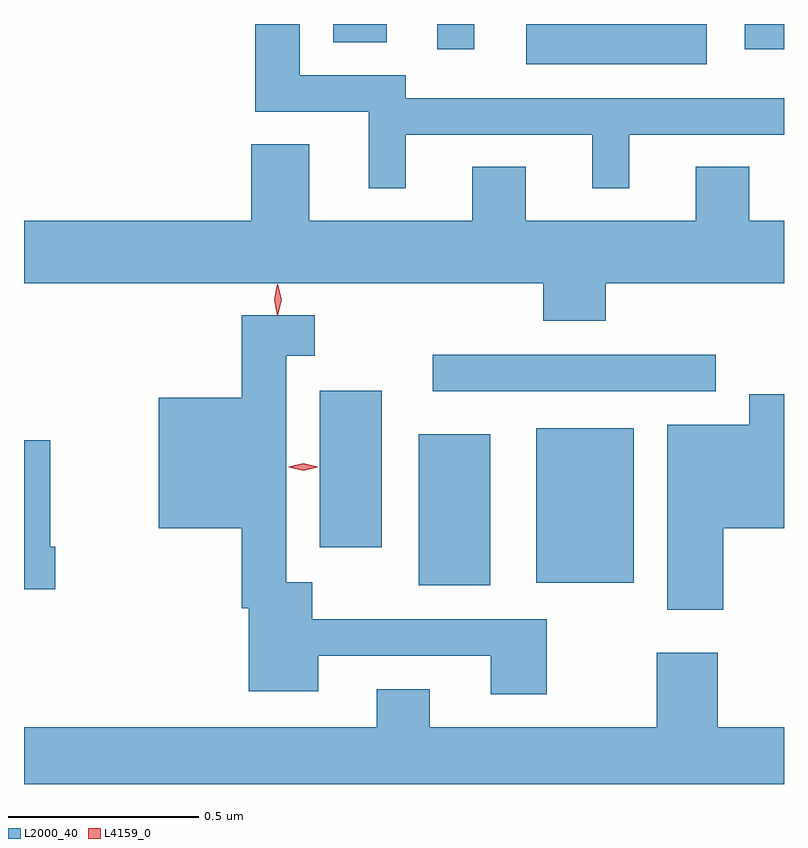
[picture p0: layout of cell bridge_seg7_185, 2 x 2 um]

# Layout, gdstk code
import gdstk
lib = gdstk.Library(unit=1e-6, precision=1e-09)
def R(c, l, rs):  # rectangles x0, y0, x1, y1
    for r in rs: c.add(gdstk.rectangle(r[:2], r[2:], *l))
def P(c, l, *ps):  # polygons
    for p in ps: c.add(gdstk.Polygon(p, *l))
L2000_40 = (2000, 40)
L4159_0 = (4159, 0)

bridge_seg7_185 = lib.new_cell('bridge_seg7_185')
R(bridge_seg7_185, L2000_40, [(450.188,1029.125,450.376,1029.523), (450.497,1029.131,450.754,1029.538), (449.927,1029.225,450.091,1029.637), (450.225,1029.636,450.97,1029.732), (450.471,1030.496,450.946,1030.602), (450.236,1030.536,450.334,1030.602), (451.046,1030.536,451.149,1030.602), (449.963,1030.554,450.103,1030.602)])
P(bridge_seg7_185, L2000_40, [(450.154,1030.311),(450.644,1030.311),(450.644,1030.17),(450.742,1030.17),(450.742,1030.311),(451.149,1030.311),(451.149,1030.407),(450.153,1030.407),(450.153,1030.467),(449.874,1030.467),(449.874,1030.602),(449.758,1030.602),(449.758,1030.371),(450.056,1030.371),(450.056,1030.17),(450.154,1030.17)],
  [(450.68,1029.92),(451.149,1029.92),(451.149,1030.084),(451.057,1030.084),(451.057,1030.226),(450.917,1030.226),(450.917,1030.084),(450.469,1030.084),(450.469,1030.226),(450.329,1030.226),(450.329,1030.084),(449.899,1030.084),(449.899,1030.286),(449.747,1030.286),(449.747,1030.084),(449.149,1030.084),(449.149,1029.92),(450.515,1029.92),(450.515,1029.821),(450.68,1029.821)],
  [(450.525,1029.036),(449.908,1029.036),(449.908,1029.133),(449.839,1029.133),(449.839,1029.729),(449.914,1029.729),(449.914,1029.835),(449.722,1029.835),(449.722,1029.619),(449.504,1029.619),(449.504,1029.275),(449.722,1029.275),(449.722,1029.065),(449.741,1029.065),(449.741,1028.846),(449.923,1028.846),(449.923,1028.94),(450.377,1028.94),(450.377,1028.838),(450.525,1028.838)],
  [(450.989,1029.275),(451.149,1029.275),(451.149,1029.628),(451.058,1029.628),(451.058,1029.547),(450.842,1029.547),(450.842,1029.06),(450.989,1029.06)],
  [(449.231,1029.226),(449.218,1029.226),(449.218,1029.507),(449.149,1029.507),(449.149,1029.114),(449.231,1029.114)],
  [(451.149,1028.752),(450.974,1028.752),(450.974,1028.947),(450.814,1028.947),(450.814,1028.752),(450.217,1028.752),(450.217,1028.851),(450.077,1028.851),(450.077,1028.752),(449.149,1028.752),(449.149,1028.602),(451.149,1028.602)])
P(bridge_seg7_185, L4159_0, [(449.884,1029.426),(449.846,1029.436),(449.846,1029.436),(449.846,1029.437),(449.884,1029.446),(449.922,1029.437),(449.922,1029.436),(449.922,1029.436)],
  [(449.817,1029.834),(449.816,1029.835),(449.807,1029.876),(449.816,1029.917),(449.817,1029.917),(449.817,1029.917),(449.827,1029.876),(449.817,1029.835)])

lib.write_gds('bridge_seg7_185.gds')
